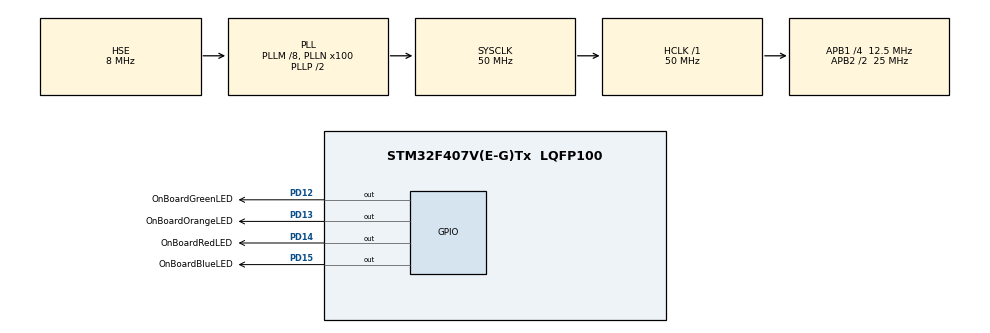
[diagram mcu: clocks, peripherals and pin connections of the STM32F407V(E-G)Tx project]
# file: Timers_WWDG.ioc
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Mcu.Family=STM32F4
Mcu.Name=STM32F407V(E-G)Tx
Mcu.Package=LQFP100
NVIC.PriorityGroup=NVIC_PRIORITYGROUP_0
NVIC.WWDG_IRQn=true\:0\:0\:false\:false\:true\:true\:true
PA10.GPIO_Label=OTG_FS_ID
PA10.GPIO_Mode=GPIO_MODE_AF_PP
PA10.GPIO_PuPd=GPIO_NOPULL
PA10.GPIO_Speed=GPIO_SPEED_FREQ_LOW
PA10.Signal=USB_OTG_FS_ID
PA11.GPIO_Label=OTG_FS_DM
PA11.GPIO_Mode=GPIO_MODE_AF_PP
PA11.GPIO_PuPd=GPIO_NOPULL
PA11.GPIO_Speed=GPIO_SPEED_FREQ_LOW
PA11.Signal=USB_OTG_FS_DM
PA12.GPIO_Label=OTG_FS_DP
PA12.GPIO_Mode=GPIO_MODE_AF_PP
PA12.GPIO_PuPd=GPIO_NOPULL
PA12.GPIO_Speed=GPIO_SPEED_FREQ_LOW
PA12.Signal=USB_OTG_FS_DP
PA13.GPIO_Label=SWDIO
PA13.Signal=SYS_JTMS-SWDIO
PA14.GPIO_Label=SWCLK
PA14.Signal=SYS_JTCK-SWCLK
PA4.GPIO_Label=I2S3_WS [CS43L22_LRCK]
PA4.GPIO_Mode=GPIO_MODE_AF_PP
PA4.GPIO_PuPd=GPIO_NOPULL
PA4.GPIO_Speed=GPIO_SPEED_FREQ_LOW
PA4.Signal=I2S3_WS
PA5.GPIO_Label=SPI1_SCK [LIS302DL_SCL/SPC]
PA5.GPIO_Mode=GPIO_MODE_AF_PP
PA5.GPIO_PuPd=GPIO_NOPULL
PA5.GPIO_Speed=GPIO_SPEED_FREQ_LOW
PA5.Signal=SPI1_SCK
PA6.GPIO_Label=SPI1_MISO [LIS302DL_SDO]
PA6.GPIO_Mode=GPIO_MODE_AF_PP
PA6.GPIO_PuPd=GPIO_NOPULL
PA6.GPIO_Speed=GPIO_SPEED_FREQ_LOW
PA6.Signal=SPI1_MISO
PA7.GPIO_Label=SPI1_MOSI [LIS302DL_SDA/SDI/SDO]
PA7.GPIO_Mode=GPIO_MODE_AF_PP
PA7.GPIO_PuPd=GPIO_NOPULL
PA7.GPIO_Speed=GPIO_SPEED_FREQ_LOW
PA7.Signal=SPI1_MOSI
PA9.GPIO_Label=VBUS_FS
PA9.GPIO_Mode=GPIO_MODE_INPUT
PA9.GPIO_PuPd=GPIO_NOPULL
PA9.Signal=USB_OTG_FS_VBUS
PB10.GPIO_Label=CLK_IN [MP45DT02_CLK]
PB10.GPIO_Mode=GPIO_MODE_AF_PP
PB10.GPIO_PuPd=GPIO_NOPULL
PB10.GPIO_Speed=GPIO_SPEED_FREQ_LOW
PB10.Signal=I2S2_CK
PB3.GPIO_Label=SWO
PB3.Signal=SYS_JTDO-SWO
PB6.GPIO_Label=Audio_SCL [CS43L22_SCL]
PB6.GPIO_Mode=GPIO_MODE_AF_OD
PB6.GPIO_PuPd=GPIO_NOPULL
PB6.GPIO_Speed=GPIO_SPEED_FREQ_LOW
PB6.Signal=I2C1_SCL
PB9.GPIO_Label=Audio_SDA [CS43L22_SDA]
PB9.GPIO_Mode=GPIO_MODE_AF_OD
PB9.GPIO_PuPd=GPIO_NOPULL
PB9.GPIO_Speed=GPIO_SPEED_FREQ_LOW
PB9.Signal=I2C1_SDA
PC10.GPIO_Label=I2S3_SCK [CS43L22_SCLK]
PC10.GPIO_Mode=GPIO_MODE_AF_PP
PC10.GPIO_PuPd=GPIO_NOPULL
PC10.GPIO_Speed=GPIO_SPEED_FREQ_LOW
PC10.Signal=I2S3_CK
PC12.GPIO_Label=I2S3_SD [CS43L22_SDIN]
PC12.GPIO_Mode=GPIO_MODE_AF_PP
PC12.GPIO_PuPd=GPIO_NOPULL
PC12.GPIO_Speed=GPIO_SPEED_FREQ_LOW
PC12.Signal=I2S3_SD
PC14-OSC32_IN.GPIO_Label=PC14-OSC32_IN
PC14-OSC32_IN.Signal=RCC_OSC32_IN
PC15-OSC32_OUT.GPIO_Label=PC15-OSC32_OUT
PC15-OSC32_OUT.Signal=RCC_OSC32_OUT
PC3.GPIO_Label=PDM_OUT [MP45DT02_DOUT]
PC3.GPIO_Mode=GPIO_MODE_AF_PP
PC3.GPIO_PuPd=GPIO_NOPULL
PC3.GPIO_Speed=GPIO_SPEED_FREQ_LOW
PC3.Signal=I2S2_SD
PC7.GPIO_Label=I2S3_MCK [CS43L22_MCLK]
PC7.GPIO_Mode=GPIO_MODE_AF_PP
PC7.GPIO_PuPd=GPIO_NOPULL
PC7.GPIO_Speed=GPIO_SPEED_FREQ_LOW
PC7.Signal=I2S3_MCK
PD12.GPIO_Label=OnBoardGreenLED
PD12.Signal=GPIO_Output
PD13.GPIO_Label=OnBoardOrangeLED
PD13.Signal=GPIO_Output
PD14.GPIO_Label=OnBoardRedLED
PD14.Signal=GPIO_Output
PD15.GPIO_Label=OnBoardBlueLED
PD15.Signal=GPIO_Output
PH0-OSC_IN.GPIO_Label=PH0-OSC_IN
PH0-OSC_IN.Mode=HSE-External-Oscillator
PH0-OSC_IN.Signal=RCC_OSC_IN
PH1-OSC_OUT.GPIO_Label=PH1-OSC_OUT
PH1-OSC_OUT.Mode=HSE-External-Oscillator
PH1-OSC_OUT.Signal=RCC_OSC_OUT
ProjectManager.HeapSize=0x200
ProjectManager.StackSize=0x400
ProjectManager.TargetToolchain=STM32CubeIDE
RCC.48MHZClocksFreq_Value=14285714.285714285
RCC.AHBFreq_Value=50000000
RCC.APB1CLKDivider=RCC_HCLK_DIV4
RCC.APB1Freq_Value=12500000
RCC.APB1TimFreq_Value=25000000
RCC.APB2CLKDivider=RCC_HCLK_DIV2
RCC.APB2Freq_Value=25000000
RCC.APB2TimFreq_Value=50000000
RCC.CortexFreq_Value=50000000
RCC.HCLKFreq_Value=50000000
RCC.HSE_VALUE=8000000
RCC.HSI_VALUE=16000000
RCC.LSE_VALUE=32768
RCC.PLLM=8
RCC.PLLN=100
RCC.PLLQ=7
RCC.PLLSourceVirtual=RCC_PLLSOURCE_HSE
RCC.SYSCLKFreq_VALUE=50000000
RCC.SYSCLKSource=RCC_SYSCLKSOURCE_PLLCLK
RCC.VCOOutputFreq_Value=100000000
VP_WWDG_VS_WWDG.Mode=WWDG_Activate
WWDG.Counter=79
WWDG.EWIMode=WWDG_EWI_ENABLE
WWDG.Prescaler=WWDG_PRESCALER_4
WWDG.Window=69
board=STM32F407G-DISC1

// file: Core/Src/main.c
/* USER CODE BEGIN Header */
/**
  ******************************************************************************
  * @file           : main.c
  * @brief          : Main program body
  ******************************************************************************
  * @attention
  *
  * <h2><center>&copy; Copyright (c) 2020 STMicroelectronics.
  * All rights reserved.</center></h2>
  *
  * This software component is licensed by ST under BSD 3-Clause license,
  * the "License"; You may not use this file except in compliance with the
  * License. You may obtain a copy of the License at:
  *                        opensource.org/licenses/BSD-3-Clause
  *
  ******************************************************************************
  */
/* USER CODE END Header */
#include "main.h"

/* USER CODE BEGIN PM */
#define WINDOW_MAX_VALUE 20 // ms
#define WINDOW_MIN_VALUE 13 // ms

/*Define EWI to use it, comment it to not use it*/
#define EWI
/* USER CODE END PM */

WWDG_HandleTypeDef hwwdg;

/* USER CODE BEGIN PV */
volatile uint8_t times_fired = 0;
/* USER CODE END PV */

void SystemClock_Config(void);
static void MX_GPIO_Init(void);
static void MX_WWDG_Init(void);

int main(void)
{
  /* USER CODE BEGIN 1 */
	times_fired = 0;
  /* USER CODE END 1 */

  /* MCU Configuration--------------------------------------------------------*/

  /* Reset of all peripherals, Initializes the Flash interface and the Systick. */
  HAL_Init();

  /* Configure the system clock */
  SystemClock_Config();

  /* Initialize all configured peripherals */
  MX_GPIO_Init();
  MX_WWDG_Init();
  /* USER CODE BEGIN 2 */
  HAL_GPIO_WritePin(OnBoardGreenLED_GPIO_Port, OnBoardGreenLED_Pin, SET);
  HAL_GPIO_WritePin(OnBoardOrangeLED_GPIO_Port, OnBoardOrangeLED_Pin, SET);
  HAL_GPIO_WritePin(OnBoardRedLED_GPIO_Port, OnBoardRedLED_Pin, SET);
  HAL_GPIO_WritePin(OnBoardBlueLED_GPIO_Port, OnBoardBlueLED_Pin, SET);
  /* USER CODE END 2 */

  /* Infinite loop */
  /* USER CODE BEGIN WHILE */
  while (1)
  {
	  #ifdef EWI
	  /* Delays the main loop more than the window.
	   * A reboot should happen but HAL_WWDG_EarlyWakeupCallback()
	   * saves us at the very last tick!
	   */
	  HAL_Delay(WINDOW_MAX_VALUE+1);
	  #else
	  /* Calculate the delay precisely by hand!
	   */
	  HAL_Delay(WINDOW_MIN_VALUE+1);
	  HAL_WWDG_Refresh(&hwwdg);
	  #endif
    /* USER CODE END WHILE */

  }
}

void SystemClock_Config(void)
{
  RCC_OscInitTypeDef RCC_OscInitStruct = {0};
  RCC_ClkInitTypeDef RCC_ClkInitStruct = {0};

  /** Configure the main internal regulator output voltage
  */
  __HAL_RCC_PWR_CLK_ENABLE();
  __HAL_PWR_VOLTAGESCALING_CONFIG(PWR_REGULATOR_VOLTAGE_SCALE1);
  /** Initializes the RCC Oscillators according to the specified parameters
  * in the RCC_OscInitTypeDef structure.
  */
  RCC_OscInitStruct.OscillatorType = RCC_OSCILLATORTYPE_HSE;
  RCC_OscInitStruct.HSEState = RCC_HSE_ON;
  RCC_OscInitStruct.PLL.PLLState = RCC_PLL_ON;
  RCC_OscInitStruct.PLL.PLLSource = RCC_PLLSOURCE_HSE;
  RCC_OscInitStruct.PLL.PLLM = 8;
  RCC_OscInitStruct.PLL.PLLN = 100;
  RCC_OscInitStruct.PLL.PLLP = RCC_PLLP_DIV2;
  RCC_OscInitStruct.PLL.PLLQ = 7;
  if (HAL_RCC_OscConfig(&RCC_OscInitStruct) != HAL_OK)
  {
    Error_Handler();
  }
  /** Initializes the CPU, AHB and APB buses clocks
  */
  RCC_ClkInitStruct.ClockType = RCC_CLOCKTYPE_HCLK|RCC_CLOCKTYPE_SYSCLK
                              |RCC_CLOCKTYPE_PCLK1|RCC_CLOCKTYPE_PCLK2;
  RCC_ClkInitStruct.SYSCLKSource = RCC_SYSCLKSOURCE_PLLCLK;
  RCC_ClkInitStruct.AHBCLKDivider = RCC_SYSCLK_DIV1;
  RCC_ClkInitStruct.APB1CLKDivider = RCC_HCLK_DIV4;
  RCC_ClkInitStruct.APB2CLKDivider = RCC_HCLK_DIV2;

  if (HAL_RCC_ClockConfig(&RCC_ClkInitStruct, FLASH_LATENCY_1) != HAL_OK)
  {
    Error_Handler();
  }
}

static void MX_WWDG_Init(void)
{

  /* USER CODE BEGIN WWDG_Init 0 */
	// Delay in order to see the blinking when refresh failed
	HAL_Delay(500);
  /* USER CODE END WWDG_Init 0 */

  hwwdg.Instance = WWDG;
  hwwdg.Init.Prescaler = WWDG_PRESCALER_4;
  hwwdg.Init.Window = 69;
  hwwdg.Init.Counter = 79;
  hwwdg.Init.EWIMode = WWDG_EWI_ENABLE;
  if (HAL_WWDG_Init(&hwwdg) != HAL_OK)
  {
    Error_Handler();
  }

}

static void MX_GPIO_Init(void)
{
  GPIO_InitTypeDef GPIO_InitStruct = {0};

  /* GPIO Ports Clock Enable */
  __HAL_RCC_GPIOC_CLK_ENABLE();
  __HAL_RCC_GPIOH_CLK_ENABLE();
  __HAL_RCC_GPIOA_CLK_ENABLE();
  __HAL_RCC_GPIOB_CLK_ENABLE();
  __HAL_RCC_GPIOD_CLK_ENABLE();

  /*Configure GPIO pin Output Level */
  HAL_GPIO_WritePin(GPIOD, OnBoardGreenLED_Pin|OnBoardOrangeLED_Pin|OnBoardRedLED_Pin|OnBoardBlueLED_Pin, GPIO_PIN_RESET);

  /*Configure GPIO pin : PDM_OUT_Pin */
  GPIO_InitStruct.Pin = PDM_OUT_Pin;
  GPIO_InitStruct.Mode = GPIO_MODE_AF_PP;
  GPIO_InitStruct.Pull = GPIO_NOPULL;
  GPIO_InitStruct.Speed = GPIO_SPEED_FREQ_LOW;
  GPIO_InitStruct.Alternate = GPIO_AF5_SPI2;
  HAL_GPIO_Init(PDM_OUT_GPIO_Port, &GPIO_InitStruct);

  /*Configure GPIO pin : I2S3_WS_Pin */
  GPIO_InitStruct.Pin = I2S3_WS_Pin;
  GPIO_InitStruct.Mode = GPIO_MODE_AF_PP;
  GPIO_InitStruct.Pull = GPIO_NOPULL;
  GPIO_InitStruct.Speed = GPIO_SPEED_FREQ_LOW;
  GPIO_InitStruct.Alternate = GPIO_AF6_SPI3;
  HAL_GPIO_Init(I2S3_WS_GPIO_Port, &GPIO_InitStruct);

  /*Configure GPIO pins : SPI1_SCK_Pin SPI1_MISO_Pin SPI1_MOSI_Pin */
  GPIO_InitStruct.Pin = SPI1_SCK_Pin|SPI1_MISO_Pin|SPI1_MOSI_Pin;
  GPIO_InitStruct.Mode = GPIO_MODE_AF_PP;
  GPIO_InitStruct.Pull = GPIO_NOPULL;
  GPIO_InitStruct.Speed = GPIO_SPEED_FREQ_LOW;
  GPIO_InitStruct.Alternate = GPIO_AF5_SPI1;
  HAL_GPIO_Init(GPIOA, &GPIO_InitStruct);

  /*Configure GPIO pin : CLK_IN_Pin */
  GPIO_InitStruct.Pin = CLK_IN_Pin;
  GPIO_InitStruct.Mode = GPIO_MODE_AF_PP;
  GPIO_InitStruct.Pull = GPIO_NOPULL;
  GPIO_InitStruct.Speed = GPIO_SPEED_FREQ_LOW;
  GPIO_InitStruct.Alternate = GPIO_AF5_SPI2;
  HAL_GPIO_Init(CLK_IN_GPIO_Port, &GPIO_InitStruct);

  /*Configure GPIO pins : OnBoardGreenLED_Pin OnBoardOrangeLED_Pin OnBoardRedLED_Pin OnBoardBlueLED_Pin */
  GPIO_InitStruct.Pin = OnBoardGreenLED_Pin|OnBoardOrangeLED_Pin|OnBoardRedLED_Pin|OnBoardBlueLED_Pin;
  GPIO_InitStruct.Mode = GPIO_MODE_OUTPUT_PP;
  GPIO_InitStruct.Pull = GPIO_NOPULL;
  GPIO_InitStruct.Speed = GPIO_SPEED_FREQ_LOW;
  HAL_GPIO_Init(GPIOD, &GPIO_InitStruct);

  /*Configure GPIO pins : I2S3_MCK_Pin I2S3_SCK_Pin I2S3_SD_Pin */
  GPIO_InitStruct.Pin = I2S3_MCK_Pin|I2S3_SCK_Pin|I2S3_SD_Pin;
  GPIO_InitStruct.Mode = GPIO_MODE_AF_PP;
  GPIO_InitStruct.Pull = GPIO_NOPULL;
  GPIO_InitStruct.Speed = GPIO_SPEED_FREQ_LOW;
  GPIO_InitStruct.Alternate = GPIO_AF6_SPI3;
  HAL_GPIO_Init(GPIOC, &GPIO_InitStruct);

  /*Configure GPIO pin : VBUS_FS_Pin */
  GPIO_InitStruct.Pin = VBUS_FS_Pin;
  GPIO_InitStruct.Mode = GPIO_MODE_INPUT;
  GPIO_InitStruct.Pull = GPIO_NOPULL;
  HAL_GPIO_Init(VBUS_FS_GPIO_Port, &GPIO_InitStruct);

  /*Configure GPIO pins : OTG_FS_ID_Pin OTG_FS_DM_Pin OTG_FS_DP_Pin */
  GPIO_InitStruct.Pin = OTG_FS_ID_Pin|OTG_FS_DM_Pin|OTG_FS_DP_Pin;
  GPIO_InitStruct.Mode = GPIO_MODE_AF_PP;
  GPIO_InitStruct.Pull = GPIO_NOPULL;
  GPIO_InitStruct.Speed = GPIO_SPEED_FREQ_LOW;
  GPIO_InitStruct.Alternate = GPIO_AF10_OTG_FS;
  HAL_GPIO_Init(GPIOA, &GPIO_InitStruct);

  /*Configure GPIO pins : Audio_SCL_Pin Audio_SDA_Pin */
  GPIO_InitStruct.Pin = Audio_SCL_Pin|Audio_SDA_Pin;
  GPIO_InitStruct.Mode = GPIO_MODE_AF_OD;
  GPIO_InitStruct.Pull = GPIO_PULLUP;
  GPIO_InitStruct.Speed = GPIO_SPEED_FREQ_LOW;
  GPIO_InitStruct.Alternate = GPIO_AF4_I2C1;
  HAL_GPIO_Init(GPIOB, &GPIO_InitStruct);

}

/* USER CODE BEGIN 4 */
void HAL_WWDG_EarlyWakeupCallback(WWDG_HandleTypeDef* hwwdg) {
	HAL_WWDG_Refresh(hwwdg);
	times_fired++;
}
/* USER CODE END 4 */

void Error_Handler(void)
{
}

/************************ (C) COPYRIGHT STMicroelectronics *****END OF FILE****/
